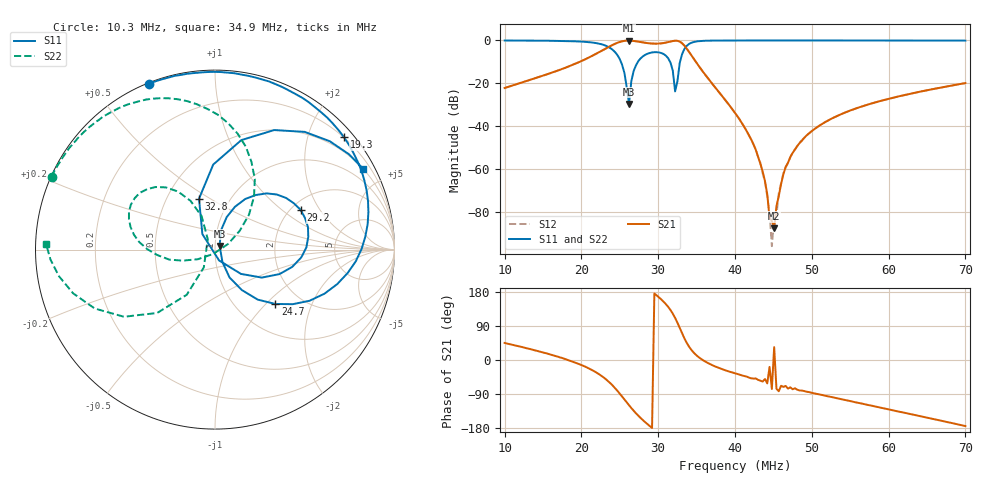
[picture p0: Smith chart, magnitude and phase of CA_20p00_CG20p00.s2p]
#  HZ  S  RI  R  50.00
! Rohde & Schwarz ZVT8 8Ports - Version 4.11 - 1300.0000k08 SN: 100242
! Date: 2026-07-31 14:25:11
! Measurements: S11 S21 S12 S22
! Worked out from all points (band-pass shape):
!   201 points, 10 MHz to 70 MHz, reference 50 ohm
!   highest |S21| = -0.07 dB at 26.2 MHz (marker M1); lowest = -87.6 dB at 45.1 MHz (marker M2)
!   |S21| within 3 dB of the highest: 23.53 MHz to 33.56 MHz (10.03 MHz wide, 35.1 % of centre)
!   lowest |S11| = -29.6 dB at 26.2 MHz (marker M3), VSWR 1.07, Z = 52.6 + j2.18 ohm
!   |S11| at or under -10 dB: 25.15 MHz to 27.35 MHz (2.205 MHz wide, 8.4 % of centre); 31.55 MHz to 32.84 MHz (1.29 MHz wide, 4.01 % of centre)
!   |S22| runs from -32.2 to 0.0 dB; largest |S21 - S12| = 0.0027
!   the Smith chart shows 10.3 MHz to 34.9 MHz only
!   S11 on the Smith chart (normalised r, x): 10.3 MHz: 0.00, +0.68; 19.3 MHz: 0.19, +2.65; 24.7 MHz: 1.49, -1.14; 29.2 MHz: 2.25, +1.37; 32.8 MHz: 0.72, +0.45; 34.9 MHz: 0.49, +3.88
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1e7  -0.3996 0.9125  0.0551 0.055  0.0548 0.055  -0.9156 0.3919
1.03e7  -0.3664 0.9253  0.0589 0.0557  0.0585 0.0557  -0.9096 0.4051
1.93e7  0.7182 0.6267  0.289 -0.0391  0.2896 -0.0381  -0.537 0.7879
2.02e7  0.7935 0.4929  0.3322 -0.0889  0.3315 -0.0884  -0.4513 0.8188
2.47e7  0.3364 -0.3029  0.1293 -0.8739  0.1314 -0.8728  0.2218 0.3925
2.56e7  0.0808 -0.155  -0.2379 -0.9481  -0.2377 -0.9473  0.1376 0.1045
2.62e7  0.0257 0.0207  -0.4886 -0.864  -0.4868 -0.8637  -0.00786 -0.0233
2.71e7  0.1106 0.238  -0.7398 -0.6093  -0.7408 -0.6075  -0.2551 -0.0557
2.92e7  0.4777 0.221  -0.8452 -0.00911  -0.8445 -0.00766  -0.4794 0.2115
3.01e7  0.5197 0.0716  -0.8178 0.2144  -0.817 0.2124  -0.4189 0.3164
3.16e7  0.2611 -0.1559  -0.6298 0.7021  -0.6302 0.702  -0.1367 0.272
3.22e7  0.0228 -0.0606  -0.3569 0.9197  -0.3562 0.9188  -0.0403 0.0579
3.28e7  -0.0891 0.2834  0.0854 0.9359  0.0854 0.9362  -0.1575 -0.2518
3.49e7  0.8273 0.4486  0.3093 0.0765  0.3078 0.0754  -0.9408 0.0307
4e7  0.8426 -0.5331  0.0167 -0.0118  0.0167 -0.0119  -0.7709 0.634
4.27e7  0.5942 -0.8006  0.00188 -0.00213  0.00188 -0.00226  -0.6561 0.7527
4.45e7  0.3981 -0.9147  7.02e-05 -2.32e-05  6.8e-05 -6.51e-05  -0.5833 0.8092
4.51e7  0.3307 -0.9421  3.45e-05 2.34e-05  -6.85e-05 1.64e-05  -0.5596 0.8267
4.72e7  0.0835 -0.9941  0.000595 -0.00183  0.000537 -0.00181  -0.4757 0.8766
5.02e7  -0.2625 -0.9633  0.000356 -0.00824  0.000382 -0.00822  -0.3602 0.9301
6.01e7  -0.9786 -0.1809  -0.0287 -0.0334  -0.0286 -0.0334  0.0266 0.9957
7e7  -0.5828 0.8024  -0.1009 -0.01  -0.1006 -0.01  0.4099 0.9033
